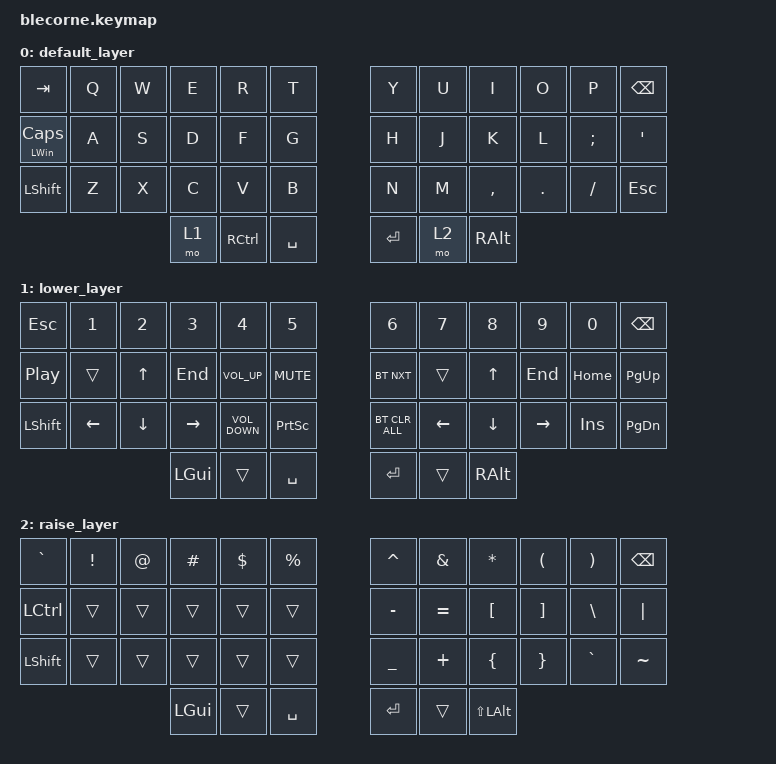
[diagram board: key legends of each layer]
/*
 * Copyright (c) 2020 The ZMK Contributors
 * SPDX-License-Identifier: MIT
 */

#include <behaviors.dtsi>
#include <dt-bindings/zmk/bt.h>
#include <dt-bindings/zmk/keys.h>

/ {
    chosen {
        zmk,physical-layout = &foostan_corne_6col_layout;

        // zmk,physical-layout = &foostan_corne_5col_layout;
    };
};

/ {
    keymap {
        compatible = "zmk,keymap";

        default_layer {
            bindings = <
&kp TAB                &kp Q  &kp W  &kp E  &kp R      &kp T      &kp Y    &kp U  &kp I      &kp O    &kp P     &kp BSPC
&mt LEFT_WIN CAPSLOCK  &kp A  &kp S  &kp D  &kp F      &kp G      &kp H    &kp J  &kp K      &kp L    &kp SEMI  &kp SQT
&kp LSHFT              &kp Z  &kp X  &kp C  &kp V      &kp B      &kp N    &kp M  &kp COMMA  &kp DOT  &kp FSLH  &kp ESC
                                     &mo 1  &kp RCTRL  &kp SPACE  &kp RET  &mo 2  &kp RALT
            >;
        };

        lower_layer {
            bindings = <
&kp ESCAPE        &kp N1    &kp N2          &kp N3     &kp N4             &kp N5           &kp N6          &kp N7    &kp N8    &kp N9     &kp N0      &kp BSPC
&kp C_PLAY_PAUSE  &trans    &kp UP_ARROW    &kp END    &kp C_VOL_UP       &kp C_MUTE       &bt BT_NXT      &trans    &kp UP    &kp END    &kp HOME    &kp PAGE_UP
&kp LSHFT         &kp LEFT  &kp DOWN_ARROW  &kp RIGHT  &kp C_VOLUME_DOWN  &kp PRINTSCREEN  &bt BT_CLR_ALL  &kp LEFT  &kp DOWN  &kp RIGHT  &kp INSERT  &kp PAGE_DOWN
                                            &kp LGUI   &trans             &kp SPACE        &kp RET         &trans    &kp RALT
            >;
        };

        raise_layer {
            bindings = <
&kp GRAVE  &kp EXCL  &kp AT  &kp HASH  &kp DLLR  &kp PRCNT  &kp CARET  &kp AMPS   &kp ASTRK         &kp LPAR  &kp RPAR   &kp BSPC
&kp LCTRL  &trans    &trans  &trans    &trans    &trans     &kp MINUS  &kp EQUAL  &kp LBKT          &kp RBKT  &kp BSLH   &kp PIPE
&kp LSHFT  &trans    &trans  &trans    &trans    &trans     &kp UNDER  &kp PLUS   &kp LBRC          &kp RBRC  &kp GRAVE  &kp TILDE
                             &kp LGUI  &trans    &kp SPACE  &kp RET    &trans     &kp LS(LEFT_ALT)
            >;
        };
    };
};
